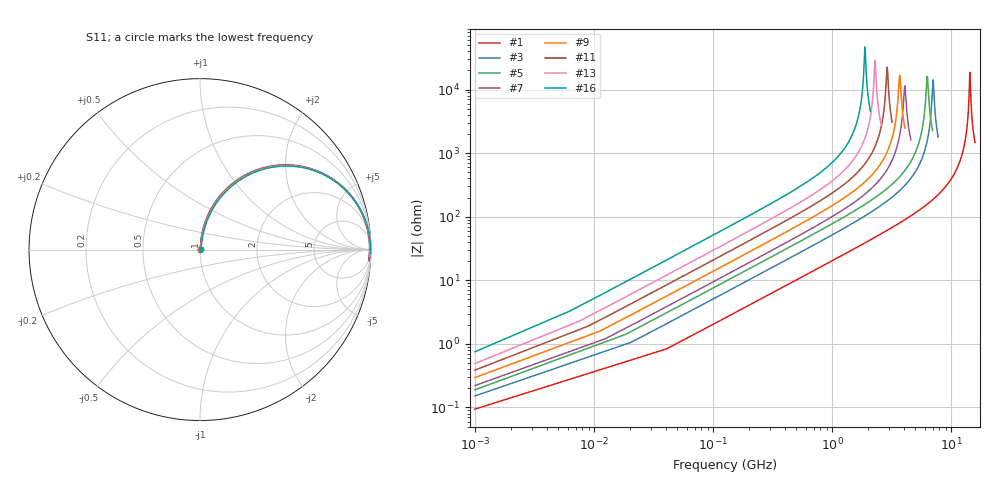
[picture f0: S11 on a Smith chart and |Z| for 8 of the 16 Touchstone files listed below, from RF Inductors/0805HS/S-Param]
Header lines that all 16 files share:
! 13 June 2002
# MHZ S MA R 50
!Freq  MagS11  AngS11  MagS21  AngS21  MagS12  AngS12  MagS22  AngS22
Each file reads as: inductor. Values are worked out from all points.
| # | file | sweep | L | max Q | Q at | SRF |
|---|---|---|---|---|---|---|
| 1 | 08HS030.S2P | 1 MHz to 15.9 GHz | 3.21 nH | 92.3 | 5.473 GHz | 14.39 GHz |
| 2 | 08HS060.S2P | 1 MHz to 11.6 GHz | 6.72 nH | 96.7 | 3.907 GHz | 10.5 GHz |
| 3 | 08HS080.S2P | 1 MHz to 7.8 GHz | 8.05 nH | 80.6 | 2.471 GHz | 7.061 GHz |
| 4 | 08HS101.S2P | 1 MHz to 1.9 GHz | 99.1 nH | 75.6 | 659.9 MHz | 1.712 GHz |
| 5 | 08HS120.S2P | 1 MHz to 7 GHz | 12 nH | 102 | 2.025 GHz | 6.3 GHz |
| 6 | 08HS121.S2P | 1 MHz to 1.7 GHz | 119 nH | 75.9 | 569.2 MHz | 1.502 GHz |
| 7 | 08HS150.S2P | 1 MHz to 4.6 GHz | 15 nH | 82 | 1.343 GHz | 4.084 GHz |
| 8 | 08HS180.S2P | 1 MHz to 5.5 GHz | 18 nH | 93.2 | 1.728 GHz | 4.923 GHz |
| 9 | 08HS220.S2P | 1 MHz to 4.1 GHz | 22 nH | 84.3 | 1.238 GHz | 3.701 GHz |
| 10 | 08HS270.S2P | 1 MHz to 4.4 GHz | 27 nH | 89 | 1.361 GHz | 3.917 GHz |
| 11 | 08HS330.S2P | 1 MHz to 3.2 GHz | 33 nH | 83.2 | 1.006 GHz | 2.898 GHz |
| 12 | 08HS390.S2P | 1 MHz to 3.2 GHz | 39 nH | 83.5 | 1.014 GHz | 2.842 GHz |
| 13 | 08HS470.S2P | 1 MHz to 2.6 GHz | 47 nH | 75.3 | 836.9 MHz | 2.295 GHz |
| 14 | 08HS560.S2P | 1 MHz to 2.5 GHz | 56 nH | 75.1 | 854.5 MHz | 2.25 GHz |
| 15 | 08HS680.S2P | 1 MHz to 2.4 GHz | 67.5 nH | 73.8 | 796.3 MHz | 2.112 GHz |
| 16 | 08HS820.S2P | 1 MHz to 2.1 GHz | 81.4 nH | 75 | 712.3 MHz | 1.889 GHz |
